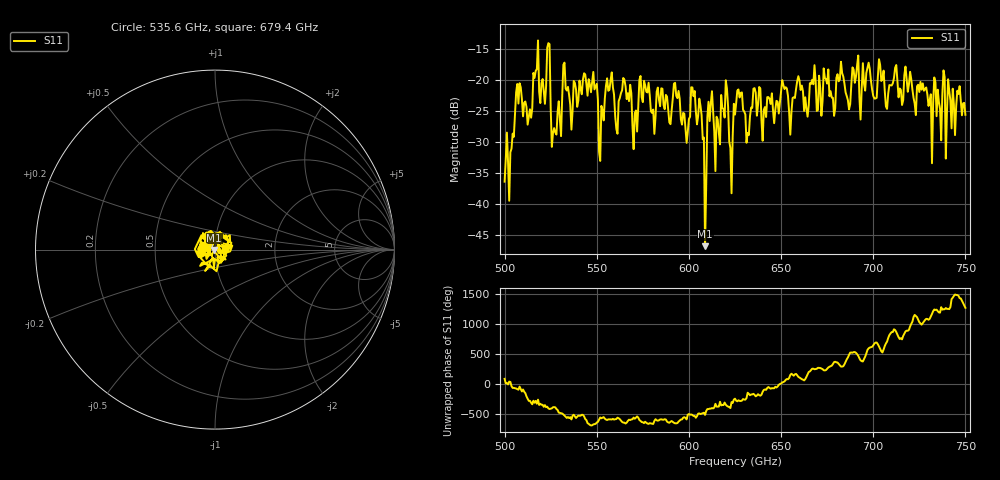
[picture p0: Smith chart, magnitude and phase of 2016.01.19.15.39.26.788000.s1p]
!Created with skrf (http://scikit-rf.org).
# GHz S RI R 50.0
!freq ReS11 ImS11
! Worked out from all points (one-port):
!   401 points, 500 GHz to 750 GHz, reference 50 ohm
!   lowest |S11| = -46.9 dB at 608.8 GHz (marker M1), VSWR 1.01, Z = 49.6 - j0.177 ohm
!   |S11| at or under -10 dB: start of sweep to end of sweep
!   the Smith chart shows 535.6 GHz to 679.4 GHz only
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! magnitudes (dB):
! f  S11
! 500 GHz  -36.5
! 503.8 GHz  -31.1
! 507.5 GHz  -23.9
! 513.8 GHz  -24.8
! 516.9 GHz  -18.6
! 520.6 GHz  -19.9
! 523.8 GHz  -14.1
! 526.9 GHz  -27.8
! 531.2 GHz  -22.8
! 548.8 GHz  -21.6
! 552.5 GHz  -24.2
! 556.9 GHz  -21.7
! 562.5 GHz  -23.0
! 570.6 GHz  -25.4
! 574.4 GHz  -22.9
! 593.8 GHz  -23.0
! 599.4 GHz  -28.5
! 602.5 GHz  -22.7
! 608.8 GHz  -46.9
! 611.2 GHz  -26.7
! 615.6 GHz  -26.5
! 620 GHz  -20.1
! 622.5 GHz  -31.1
! 625 GHz  -25.7
! 656.2 GHz  -23.0
! 687.5 GHz  -24.0
! 718.8 GHz  -22.0
! 750 GHz  -25.7
